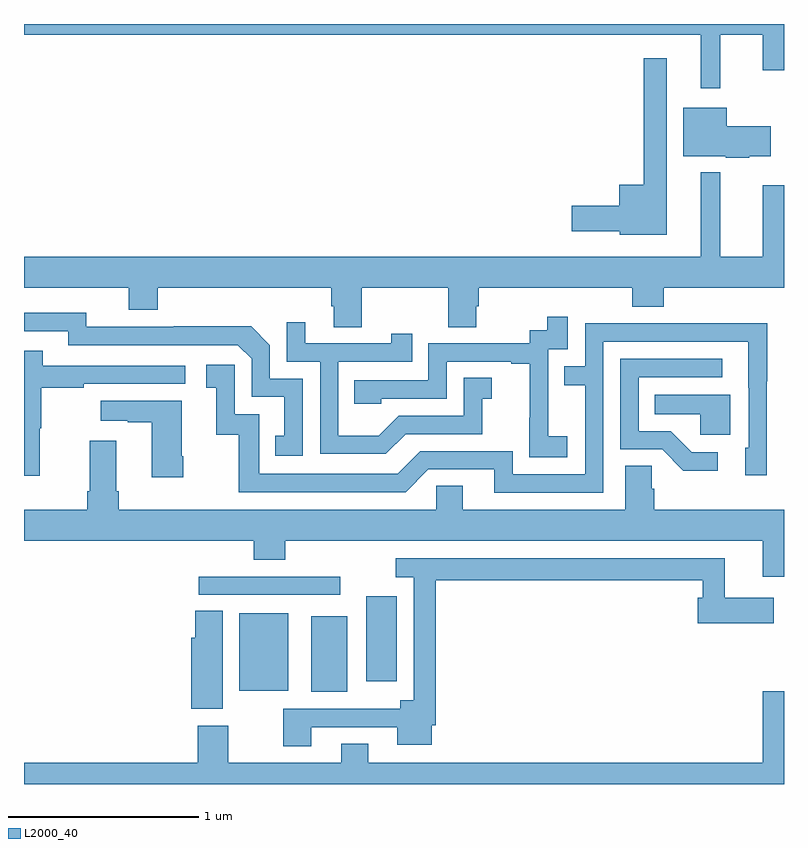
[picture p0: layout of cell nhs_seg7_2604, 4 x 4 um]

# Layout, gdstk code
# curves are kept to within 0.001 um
import gdstk
lib = gdstk.Library(unit=1e-6, precision=1e-09)
def R(c, l, rs):  # rectangles x0, y0, x1, y1
    for r in rs: c.add(gdstk.rectangle(r[:2], r[2:], *l))
def P(c, l, *ps):  # polygons
    for p in ps: c.add(gdstk.Polygon(p, *l))
L2000_40 = (2000, 40)

nhs_seg7_2604 = lib.new_cell('nhs_seg7_2604')
R(nhs_seg7_2604, L2000_40, [(282.512,1002.485,282.7,1002.883), (282.134,1002.491,282.391,1002.898), (282.8,1002.54,282.961,1002.988), (281.919,1002.996,282.664,1003.092)])
P(nhs_seg7_2604, L2000_40, [(284.665,1005.944),(284.888,1005.944),(284.888,1005.756),(285,1005.756),(285,1006),(281,1006),(281,1005.944),(284.561,1005.944),(284.561,1005.663),(284.665,1005.663)],
  [(284.383,1005.82),(284.262,1005.82),(284.262,1005.154),(284.132,1005.154),(284.132,1005.044),(283.884,1005.044),(283.884,1004.909),(284.136,1004.909),(284.136,1004.891),(284.383,1004.891)],
  [(284.816,1005.305),(284.929,1005.305),(284.929,1005.463),(284.698,1005.463),(284.698,1005.559),(284.471,1005.559),(284.471,1005.305),(284.694,1005.305),(284.694,1005.295),(284.816,1005.295)],
  [(282.777,1004.612),(283.234,1004.612),(283.234,1004.404),(283.381,1004.404),(283.381,1004.514),(283.394,1004.514),(283.394,1004.612),(284.201,1004.612),(284.201,1004.513),(284.366,1004.513),(284.366,1004.612),(285,1004.612),(285,1005.151),(284.888,1005.151),(284.888,1004.776),(284.665,1004.776),(284.665,1005.113),(284.664,1005.113),(284.664,1005.22),(284.561,1005.22),(284.561,1004.776),(281,1004.776),(281,1004.612),(281.552,1004.612),(281.552,1004.495),(281.705,1004.495),(281.705,1004.612),(282.617,1004.612),(282.617,1004.514),(282.629,1004.514),(282.629,1004.404),(282.777,1004.404)],
  [(282.468,1004.133),(282.294,1004.133),(282.294,1004.31),(282.196,1004.408),(281.788,1004.408),(281.788,1004.406),(281.328,1004.406),(281.328,1004.479),(281,1004.479),(281,1004.382),(281.232,1004.382),(281.232,1004.31),(282.126,1004.31),(282.198,1004.238),(282.198,1004.037),(282.371,1004.037),(282.371,1003.833),(282.322,1003.833),(282.322,1003.728),(282.468,1003.728)],
  [(283.858,1003.831),(283.76,1003.831),(283.76,1004.06),(283.758,1004.06),(283.758,1004.289),(283.863,1004.289),(283.863,1004.458),(283.755,1004.458),(283.755,1004.388),(283.662,1004.388),(283.662,1004.319),(283.128,1004.319),(283.128,1004.124),(282.739,1004.124),(282.739,1004.001),(282.879,1004.001),(282.879,1004.028),(283.224,1004.028),(283.224,1004.223),(283.565,1004.223),(283.565,1004.211),(283.661,1004.211),(283.661,1003.927),(283.66,1003.927),(283.66,1003.721),(283.858,1003.721)],
  [(283.009,1003.842),(283.413,1003.842),(283.413,1004.027),(283.462,1004.027),(283.462,1004.137),(283.314,1004.137),(283.314,1003.938),(282.972,1003.938),(282.868,1003.834),(282.654,1003.834),(282.654,1004.223),(283.043,1004.223),(283.043,1004.371),(282.932,1004.371),(282.932,1004.319),(282.481,1004.319),(282.481,1004.431),(282.384,1004.431),(282.384,1004.223),(282.558,1004.223),(282.558,1003.737),(282.904,1003.737)],
  [(284.049,1004.328),(284.813,1004.328),(284.814,1003.77),(284.795,1003.77),(284.795,1003.626),(284.91,1003.626),(284.91,1004.119),(284.913,1004.119),(284.913,1004.426),(284.449,1004.426),(284.449,1004.424),(283.953,1004.424),(283.953,1004.199),(283.843,1004.199),(283.843,1004.098),(283.953,1004.098),(283.953,1003.629),(283.572,1003.629),(283.572,1003.752),(283.086,1003.752),(282.966,1003.632),(282.237,1003.632),(282.237,1003.947),(282.108,1003.947),(282.108,1004.206),(281.958,1004.206),(281.958,1004.085),(282.011,1004.085),(282.011,1003.839),(282.129,1003.839),(282.129,1003.536),(283.008,1003.536),(283.128,1003.656),(283.475,1003.656),(283.475,1003.533),(284.049,1003.533)],
  [(281.084,1003.872),(281.092,1003.872),(281.092,1004.086),(281.315,1004.086),(281.315,1004.106),(281.848,1004.106),(281.848,1004.202),(281.099,1004.202),(281.099,1004.281),(281,1004.281),(281,1003.623),(281.084,1003.623)],
  [(284.65,1003.746),(284.515,1003.746),(284.404,1003.857),(284.235,1003.857),(284.235,1004.142),(284.674,1004.142),(284.674,1004.238),(284.139,1004.238),(284.139,1003.761),(284.358,1003.761),(284.471,1003.649),(284.65,1003.649)],
  [(284.716,1004.05),(284.32,1004.05),(284.32,1003.946),(284.559,1003.946),(284.559,1003.838),(284.716,1003.838)],
  [(281.838,1003.726),(281.83,1003.726),(281.83,1004.017),(281.403,1004.017),(281.403,1003.913),(281.546,1003.913),(281.546,1003.903),(281.672,1003.903),(281.672,1003.614),(281.838,1003.614)],
  [(281.485,1003.54),(281.485,1003.807),(281.345,1003.807),(281.345,1003.54),(281.333,1003.54),(281.333,1003.444),(281,1003.444),(281,1003.28),(282.209,1003.28),(282.209,1003.181),(282.374,1003.181),(282.374,1003.28),(284.888,1003.28),(284.888,1003.092),(285,1003.092),(285,1003.444),(284.318,1003.444),(284.318,1003.553),(284.304,1003.553),(284.304,1003.676),(284.165,1003.676),(284.165,1003.444),(283.309,1003.444),(283.309,1003.571),(283.17,1003.571),(283.17,1003.444),(281.498,1003.444),(281.498,1003.54)],
  [(282.511,1002.3),(282.965,1002.3),(282.965,1002.206),(283.147,1002.206),(283.147,1002.31),(283.166,1002.31),(283.166,1003.072),(284.573,1003.072),(284.573,1002.979),(284.546,1002.979),(284.546,1002.845),(284.947,1002.845),(284.947,1002.979),(284.687,1002.979),(284.687,1003.188),(282.957,1003.188),(282.957,1003.088),(283.05,1003.088),(283.05,1002.442),(282.98,1002.442),(282.98,1002.396),(282.364,1002.396),(282.364,1002.198),(282.511,1002.198)],
  [(282.046,1002.911),(281.9,1002.911),(281.9,1002.771),(281.879,1002.771),(281.879,1002.395),(282.046,1002.395)],
  [(285,1002.487),(284.888,1002.487),(284.888,1002.112),(282.811,1002.112),(282.811,1002.211),(282.671,1002.211),(282.671,1002.112),(282.075,1002.112),(282.075,1002.307),(281.915,1002.307),(281.915,1002.112),(281,1002.112),(281,1002),(285,1002)])

lib.write_gds('nhs_seg7_2604.gds')
